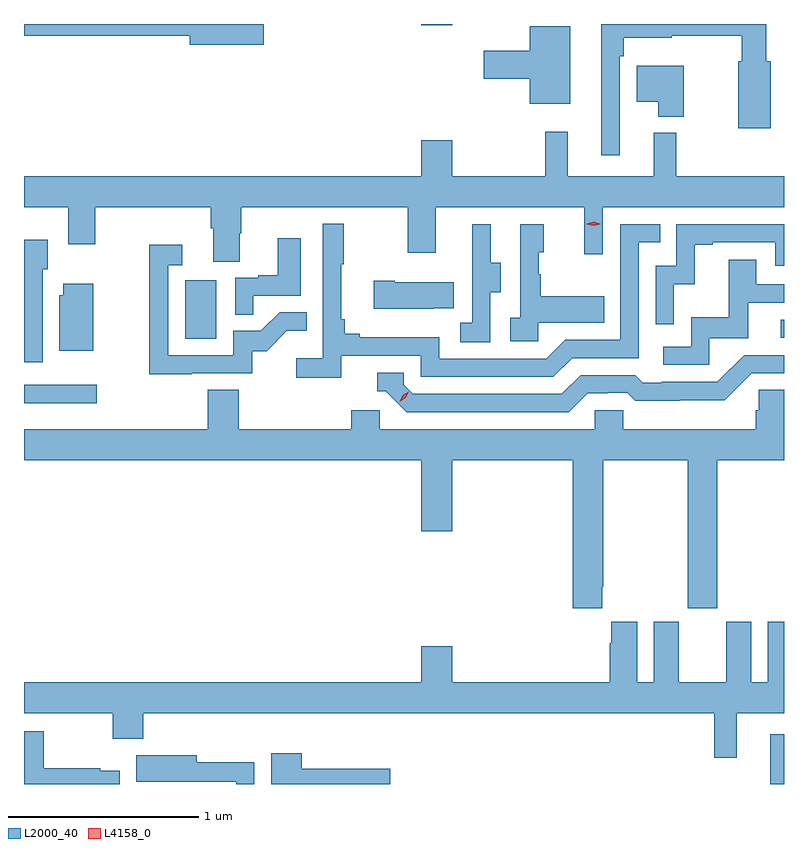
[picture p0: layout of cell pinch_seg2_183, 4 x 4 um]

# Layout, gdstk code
import gdstk
lib = gdstk.Library(unit=1e-6, precision=1e-09)
def R(c, l, rs):  # rectangles x0, y0, x1, y1
    for r in rs: c.add(gdstk.rectangle(r[:2], r[2:], *l))
def P(c, l, *ps):  # polygons
    for p in ps: c.add(gdstk.Polygon(p, *l))
L2000_40 = (2000, 40)
L4158_0 = (4158, 0)

pinch_seg2_183 = lib.new_cell('pinch_seg2_183')
R(pinch_seg2_183, L2000_40, [(1137.872,629.948,1137.945,630.211), (1133.945,631.952,1134.328,632.049), (1134.794,632.292,1134.958,632.599), (1137.927,632.298,1137.945,632.391), (1136.036,633.942,1136.2,633.948)])
P(pinch_seg2_183, L2000_40, [(1135.207,633.948),(1133.945,633.948),(1133.945,633.886),(1134.818,633.886),(1134.818,633.839),(1135.207,633.839)],
  [(1137.081,633.779),(1137.101,633.779),(1137.101,633.875),(1137.355,633.875),(1137.355,633.886),(1137.723,633.886),(1137.723,633.751),(1137.704,633.751),(1137.704,633.399),(1137.875,633.399),(1137.875,633.751),(1137.851,633.751),(1137.851,633.948),(1136.984,633.948),(1136.984,633.258),(1137.081,633.258)],
  [(1136.821,633.937),(1136.606,633.937),(1136.606,633.806),(1136.364,633.806),(1136.364,633.659),(1136.606,633.659),(1136.606,633.527),(1136.821,633.527)],
  [(1137.418,633.727),(1137.17,633.727),(1137.17,633.539),(1137.284,633.539),(1137.284,633.461),(1137.418,633.461)],
  [(1135.081,632.847),(1135.089,632.847),(1135.089,632.984),(1135.966,632.984),(1135.966,632.745),(1136.113,632.745),(1136.113,632.984),(1136.894,632.984),(1136.894,632.736),(1136.991,632.736),(1136.991,632.984),(1137.945,632.984),(1137.945,633.148),(1137.377,633.148),(1137.377,633.376),(1137.26,633.376),(1137.26,633.148),(1136.807,633.148),(1136.807,633.382),(1136.689,633.382),(1136.689,633.148),(1136.2,633.148),(1136.2,633.337),(1136.036,633.337),(1136.036,633.148),(1133.945,633.148),(1133.945,632.984),(1134.179,632.984),(1134.179,632.79),(1134.319,632.79),(1134.319,632.984),(1134.929,632.984),(1134.929,632.872),(1134.941,632.872),(1134.941,632.698),(1135.081,632.698)],
  [(1135.616,632.202),(1136.034,632.202),(1136.034,632.091),(1136.731,632.091),(1136.83,632.19),(1137.18,632.19),(1137.18,632.799),(1137.293,632.799),(1137.293,632.895),(1137.084,632.895),(1137.084,632.286),(1136.793,632.286),(1136.694,632.187),(1136.13,632.187),(1136.13,632.299),(1135.711,632.299),(1135.711,632.318),(1135.634,632.318),(1135.634,632.395),(1135.615,632.395),(1135.615,632.683),(1135.627,632.683),(1135.627,632.896),(1135.518,632.896),(1135.518,632.188),(1135.377,632.188),(1135.377,632.086),(1135.616,632.086)],
  [(1137.366,632.579),(1137.476,632.579),(1137.476,632.787),(1137.571,632.787),(1137.571,632.799),(1137.9,632.799),(1137.9,632.676),(1137.945,632.676),(1137.945,632.895),(1137.378,632.895),(1137.378,632.676),(1137.27,632.676),(1137.27,632.367),(1137.366,632.367)],
  [(1136.652,632.375),(1136.999,632.375),(1136.999,632.515),(1136.665,632.515),(1136.665,632.63),(1136.655,632.63),(1136.655,632.748),(1136.68,632.748),(1136.68,632.893),(1136.556,632.893),(1136.556,632.402),(1136.505,632.402),(1136.505,632.277),(1136.652,632.277)],
  [(1136.4,632.536),(1136.455,632.536),(1136.455,632.691),(1136.401,632.691),(1136.401,632.893),(1136.303,632.893),(1136.303,632.679),(1136.304,632.679),(1136.304,632.375),(1136.241,632.375),(1136.241,632.272),(1136.4,632.272)],
  [(1135.151,632.517),(1135.402,632.517),(1135.402,632.821),(1135.28,632.821),(1135.28,632.626),(1135.177,632.626),(1135.177,632.613),(1135.056,632.613),(1135.056,632.419),(1135.151,632.419)],
  [(1134.043,632.658),(1134.07,632.658),(1134.07,632.812),(1133.945,632.812),(1133.945,632.169),(1134.043,632.169)],
  [(1134.827,632.109),(1135.146,632.109),(1135.146,632.226),(1135.222,632.226),(1135.329,632.333),(1135.433,632.333),(1135.433,632.432),(1135.29,632.432),(1135.192,632.334),(1135.047,632.334),(1135.047,632.205),(1134.705,632.205),(1134.705,632.679),(1134.778,632.679),(1134.778,632.785),(1134.604,632.785),(1134.604,632.104),(1134.827,632.104)],
  [(1137.552,632.295),(1137.757,632.295),(1137.757,632.481),(1137.945,632.481),(1137.945,632.577),(1137.799,632.577),(1137.799,632.707),(1137.655,632.707),(1137.655,632.404),(1137.456,632.404),(1137.456,632.25),(1137.309,632.25),(1137.309,632.154),(1137.552,632.154)],
  [(1136.099,632.453),(1136.207,632.453),(1136.207,632.59),(1135.897,632.59),(1135.897,632.598),(1135.785,632.598),(1135.785,632.45),(1136.099,632.45)],
  [(1134.31,632.581),(1134.152,632.581),(1134.152,632.52),(1134.131,632.52),(1134.131,632.228),(1134.31,632.228)],
  [(1136.911,632.004),(1137.018,632.004),(1137.018,632.007),(1137.121,632.007),(1137.163,631.965),(1137.396,631.965),(1137.396,631.967),(1137.632,631.967),(1137.774,632.109),(1137.945,632.109),(1137.945,632.205),(1137.735,632.205),(1137.594,632.064),(1137.301,632.064),(1137.301,632.061),(1137.202,632.061),(1137.163,632.1),(1136.874,632.1),(1136.775,632.001),(1135.992,632.001),(1135.944,632.049),(1135.944,632.112),(1135.805,632.112),(1135.805,632.016),(1135.848,632.016),(1135.959,631.905),(1136.812,631.905)],
  [(1136.989,630.985),(1136.994,630.985),(1136.994,631.652),(1137.439,631.652),(1137.439,630.873),(1137.594,630.873),(1137.594,631.652),(1137.945,631.652),(1137.945,632.024),(1137.811,632.024),(1137.811,631.914),(1137.797,631.914),(1137.797,631.816),(1137.099,631.816),(1137.099,631.914),(1136.949,631.914),(1136.949,631.816),(1135.818,631.816),(1135.818,631.914),(1135.667,631.914),(1135.667,631.816),(1135.076,631.816),(1135.076,632.024),(1134.911,632.024),(1134.911,631.816),(1133.945,631.816),(1133.945,631.652),(1136.036,631.652),(1136.036,631.278),(1136.2,631.278),(1136.2,631.652),(1136.834,631.652),(1136.834,630.873),(1136.989,630.873)],
  [(1137.695,630.32),(1137.945,630.32),(1137.945,630.802),(1137.86,630.802),(1137.86,630.484),(1137.772,630.484),(1137.772,630.802),(1137.641,630.802),(1137.641,630.484),(1137.391,630.484),(1137.391,630.802),(1137.26,630.802),(1137.26,630.484),(1137.172,630.484),(1137.172,630.802),(1137.035,630.802),(1137.035,630.689),(1137.029,630.689),(1137.029,630.484),(1136.2,630.484),(1136.2,630.673),(1136.036,630.673),(1136.036,630.484),(1133.945,630.484),(1133.945,630.32),(1134.412,630.32),(1134.412,630.185),(1134.572,630.185),(1134.572,630.32),(1137.577,630.32),(1137.577,630.087),(1137.695,630.087)],
  [(1134.45,630.019),(1134.347,630.019),(1134.347,630.031),(1134.049,630.031),(1134.049,630.225),(1133.945,630.225),(1133.945,629.948),(1134.45,629.948)],
  [(1135.873,630.027),(1135.408,630.027),(1135.408,630.109),(1135.247,630.109),(1135.247,629.948),(1135.873,629.948)],
  [(1135.158,630.062),(1134.853,630.062),(1134.853,630.1),(1134.535,630.1),(1134.535,629.96),(1134.749,629.96),(1134.749,629.961),(1135.062,629.961),(1135.062,629.948),(1135.158,629.948)])
P(pinch_seg2_183, L4158_0, [(1136.944,632.885),(1136.908,632.895),(1136.908,632.896),(1136.908,632.896),(1136.944,632.906),(1136.979,632.896),(1136.979,632.896),(1136.979,632.895)],
  [(1135.923,631.961),(1135.923,631.961),(1135.939,631.994),(1135.97,632.013),(1135.97,632.013),(1135.97,632.013),(1135.954,631.98),(1135.923,631.961)])

lib.write_gds('pinch_seg2_183.gds')
